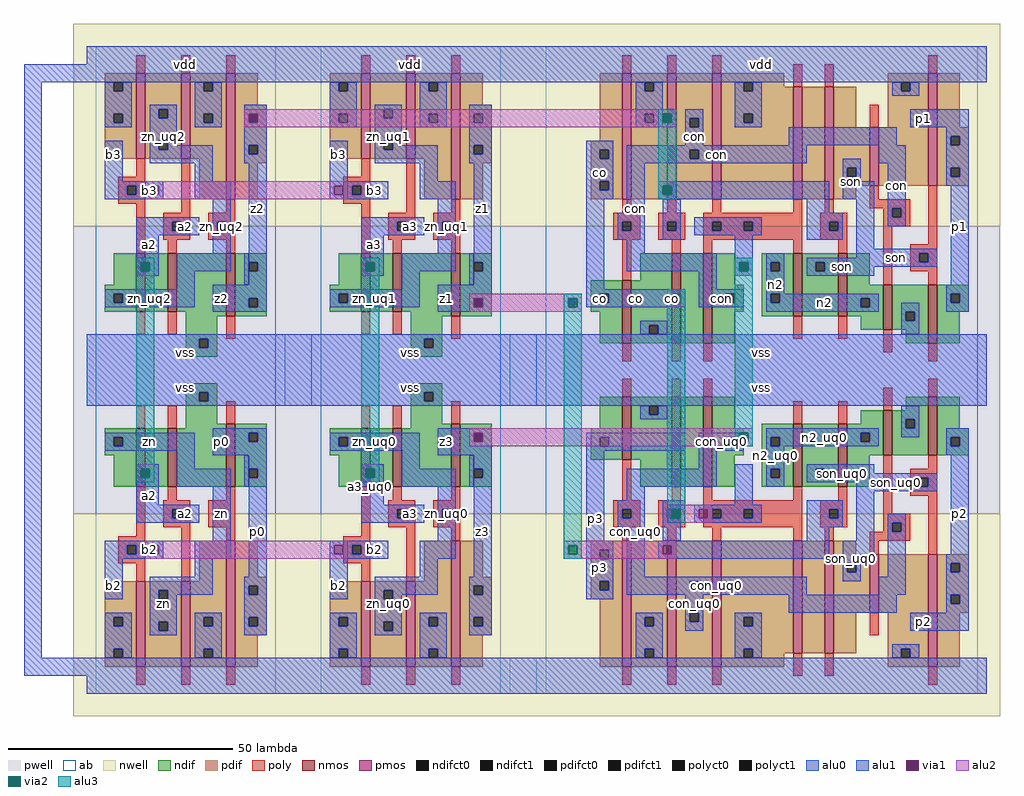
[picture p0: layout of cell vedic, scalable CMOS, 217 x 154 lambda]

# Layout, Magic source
magic
tech scmos
<< ab >>
rect 5 -68 45 76
rect 47 -4 53 12
rect 55 -68 95 76
rect 97 -4 103 12
rect 97 -68 103 -60
rect 105 -68 201 76
<< nwell >>
rect 0 36 206 81
rect 0 -73 206 -28
<< pwell >>
rect 0 -28 206 36
<< poly >>
rect 14 70 16 74
rect 24 70 26 74
rect 34 70 36 74
rect 64 70 66 74
rect 74 70 76 74
rect 84 70 86 74
rect 122 70 124 74
rect 132 70 134 74
rect 142 70 144 74
rect 14 47 16 51
rect 10 45 16 47
rect 10 43 12 45
rect 14 43 16 45
rect 10 41 16 43
rect 14 30 16 41
rect 24 39 26 51
rect 64 47 66 51
rect 60 45 66 47
rect 60 43 62 45
rect 64 43 66 45
rect 34 39 36 42
rect 60 41 66 43
rect 20 37 26 39
rect 20 35 22 37
rect 24 35 26 37
rect 20 33 26 35
rect 30 37 36 39
rect 30 35 32 37
rect 34 35 36 37
rect 30 33 36 35
rect 21 30 23 33
rect 34 30 36 33
rect 64 30 66 41
rect 74 39 76 51
rect 160 67 162 72
rect 167 67 169 72
rect 190 70 192 74
rect 177 58 179 63
rect 177 42 179 45
rect 84 39 86 42
rect 122 39 124 42
rect 132 39 134 42
rect 142 39 144 42
rect 160 39 162 42
rect 167 39 169 42
rect 177 40 186 42
rect 70 37 76 39
rect 70 35 72 37
rect 74 35 76 37
rect 70 33 76 35
rect 80 37 86 39
rect 80 35 82 37
rect 84 35 86 37
rect 80 33 86 35
rect 120 37 126 39
rect 120 35 122 37
rect 124 35 126 37
rect 120 33 126 35
rect 130 37 136 39
rect 130 35 132 37
rect 134 35 136 37
rect 130 33 136 35
rect 140 37 162 39
rect 140 35 142 37
rect 144 35 149 37
rect 151 35 162 37
rect 140 33 162 35
rect 166 37 172 39
rect 166 35 168 37
rect 170 35 172 37
rect 166 33 172 35
rect 71 30 73 33
rect 84 30 86 33
rect 14 12 16 17
rect 21 12 23 17
rect 34 11 36 16
rect 64 12 66 17
rect 71 12 73 17
rect 122 24 124 33
rect 133 30 135 33
rect 140 30 142 33
rect 160 30 162 33
rect 170 30 172 33
rect 180 38 182 40
rect 184 38 186 40
rect 180 36 186 38
rect 84 11 86 16
rect 180 23 182 36
rect 190 32 192 45
rect 186 30 192 32
rect 186 28 188 30
rect 190 28 192 30
rect 186 26 192 28
rect 190 23 192 26
rect 160 11 162 16
rect 170 11 172 16
rect 122 6 124 10
rect 133 6 135 10
rect 140 6 142 10
rect 180 8 182 13
rect 190 6 192 10
rect 122 -2 124 2
rect 133 -2 135 2
rect 140 -2 142 2
rect 14 -9 16 -4
rect 21 -9 23 -4
rect 34 -8 36 -3
rect 64 -9 66 -4
rect 71 -9 73 -4
rect 84 -8 86 -3
rect 14 -33 16 -22
rect 21 -25 23 -22
rect 34 -25 36 -22
rect 20 -27 26 -25
rect 20 -29 22 -27
rect 24 -29 26 -27
rect 20 -31 26 -29
rect 30 -27 36 -25
rect 30 -29 32 -27
rect 34 -29 36 -27
rect 30 -31 36 -29
rect 10 -35 16 -33
rect 10 -37 12 -35
rect 14 -37 16 -35
rect 10 -39 16 -37
rect 14 -43 16 -39
rect 24 -43 26 -31
rect 34 -34 36 -31
rect 64 -33 66 -22
rect 71 -25 73 -22
rect 84 -25 86 -22
rect 122 -25 124 -16
rect 160 -8 162 -3
rect 170 -8 172 -3
rect 180 -5 182 0
rect 190 -2 192 2
rect 133 -25 135 -22
rect 140 -25 142 -22
rect 160 -25 162 -22
rect 170 -25 172 -22
rect 70 -27 76 -25
rect 70 -29 72 -27
rect 74 -29 76 -27
rect 70 -31 76 -29
rect 80 -27 86 -25
rect 80 -29 82 -27
rect 84 -29 86 -27
rect 80 -31 86 -29
rect 120 -27 126 -25
rect 120 -29 122 -27
rect 124 -29 126 -27
rect 120 -31 126 -29
rect 130 -27 136 -25
rect 130 -29 132 -27
rect 134 -29 136 -27
rect 130 -31 136 -29
rect 140 -27 162 -25
rect 140 -29 142 -27
rect 144 -29 149 -27
rect 151 -29 162 -27
rect 140 -31 162 -29
rect 166 -27 172 -25
rect 166 -29 168 -27
rect 170 -29 172 -27
rect 166 -31 172 -29
rect 180 -28 182 -15
rect 190 -18 192 -15
rect 186 -20 192 -18
rect 186 -22 188 -20
rect 190 -22 192 -20
rect 186 -24 192 -22
rect 180 -30 186 -28
rect 60 -35 66 -33
rect 60 -37 62 -35
rect 64 -37 66 -35
rect 60 -39 66 -37
rect 64 -43 66 -39
rect 74 -43 76 -31
rect 84 -34 86 -31
rect 122 -34 124 -31
rect 132 -34 134 -31
rect 142 -34 144 -31
rect 160 -34 162 -31
rect 167 -34 169 -31
rect 180 -32 182 -30
rect 184 -32 186 -30
rect 177 -34 186 -32
rect 177 -37 179 -34
rect 190 -37 192 -24
rect 177 -55 179 -50
rect 14 -66 16 -62
rect 24 -66 26 -62
rect 34 -66 36 -62
rect 64 -66 66 -62
rect 74 -66 76 -62
rect 84 -66 86 -62
rect 122 -66 124 -62
rect 132 -66 134 -62
rect 142 -66 144 -62
rect 160 -64 162 -59
rect 167 -64 169 -59
rect 190 -66 192 -62
<< ndif >>
rect 9 23 14 30
rect 7 21 14 23
rect 7 19 9 21
rect 11 19 14 21
rect 7 17 14 19
rect 16 17 21 30
rect 23 17 34 30
rect 25 16 34 17
rect 36 28 43 30
rect 36 26 39 28
rect 41 26 43 28
rect 36 20 43 26
rect 59 23 64 30
rect 36 18 39 20
rect 41 18 43 20
rect 36 16 43 18
rect 57 21 64 23
rect 57 19 59 21
rect 61 19 64 21
rect 57 17 64 19
rect 66 17 71 30
rect 73 17 84 30
rect 25 11 32 16
rect 75 16 84 17
rect 86 28 93 30
rect 86 26 89 28
rect 91 26 93 28
rect 86 20 93 26
rect 126 24 133 30
rect 86 18 89 20
rect 91 18 93 20
rect 86 16 93 18
rect 115 21 122 24
rect 115 19 117 21
rect 119 19 122 21
rect 115 17 122 19
rect 75 11 82 16
rect 25 9 28 11
rect 30 9 32 11
rect 25 7 32 9
rect 75 9 78 11
rect 80 9 82 11
rect 117 10 122 17
rect 124 14 133 24
rect 124 12 128 14
rect 130 12 133 14
rect 124 10 133 12
rect 135 10 140 30
rect 142 23 147 30
rect 153 28 160 30
rect 153 26 155 28
rect 157 26 160 28
rect 142 21 149 23
rect 142 19 145 21
rect 147 19 149 21
rect 142 17 149 19
rect 153 21 160 26
rect 153 19 155 21
rect 157 19 160 21
rect 142 10 147 17
rect 153 16 160 19
rect 162 28 170 30
rect 162 26 165 28
rect 167 26 170 28
rect 162 16 170 26
rect 172 23 177 30
rect 172 20 180 23
rect 172 18 175 20
rect 177 18 180 20
rect 172 16 180 18
rect 175 13 180 16
rect 182 17 190 23
rect 182 15 185 17
rect 187 15 190 17
rect 182 13 190 15
rect 75 7 82 9
rect 185 10 190 13
rect 192 21 199 23
rect 192 19 195 21
rect 197 19 199 21
rect 192 17 199 19
rect 192 10 197 17
rect 25 -1 32 1
rect 25 -3 28 -1
rect 30 -3 32 -1
rect 75 -1 82 1
rect 75 -3 78 -1
rect 80 -3 82 -1
rect 25 -8 32 -3
rect 25 -9 34 -8
rect 7 -11 14 -9
rect 7 -13 9 -11
rect 11 -13 14 -11
rect 7 -15 14 -13
rect 9 -22 14 -15
rect 16 -22 21 -9
rect 23 -22 34 -9
rect 36 -10 43 -8
rect 75 -8 82 -3
rect 75 -9 84 -8
rect 36 -12 39 -10
rect 41 -12 43 -10
rect 36 -18 43 -12
rect 57 -11 64 -9
rect 57 -13 59 -11
rect 61 -13 64 -11
rect 57 -15 64 -13
rect 36 -20 39 -18
rect 41 -20 43 -18
rect 36 -22 43 -20
rect 59 -22 64 -15
rect 66 -22 71 -9
rect 73 -22 84 -9
rect 86 -10 93 -8
rect 117 -9 122 -2
rect 86 -12 89 -10
rect 91 -12 93 -10
rect 86 -18 93 -12
rect 115 -11 122 -9
rect 115 -13 117 -11
rect 119 -13 122 -11
rect 115 -16 122 -13
rect 124 -4 133 -2
rect 124 -6 128 -4
rect 130 -6 133 -4
rect 124 -16 133 -6
rect 86 -20 89 -18
rect 91 -20 93 -18
rect 86 -22 93 -20
rect 126 -22 133 -16
rect 135 -22 140 -2
rect 142 -9 147 -2
rect 185 -5 190 -2
rect 175 -8 180 -5
rect 142 -11 149 -9
rect 142 -13 145 -11
rect 147 -13 149 -11
rect 142 -15 149 -13
rect 153 -11 160 -8
rect 153 -13 155 -11
rect 157 -13 160 -11
rect 142 -22 147 -15
rect 153 -18 160 -13
rect 153 -20 155 -18
rect 157 -20 160 -18
rect 153 -22 160 -20
rect 162 -18 170 -8
rect 162 -20 165 -18
rect 167 -20 170 -18
rect 162 -22 170 -20
rect 172 -10 180 -8
rect 172 -12 175 -10
rect 177 -12 180 -10
rect 172 -15 180 -12
rect 182 -7 190 -5
rect 182 -9 185 -7
rect 187 -9 190 -7
rect 182 -15 190 -9
rect 192 -9 197 -2
rect 192 -11 199 -9
rect 192 -13 195 -11
rect 197 -13 199 -11
rect 192 -15 199 -13
rect 172 -22 177 -15
<< pdif >>
rect 7 68 14 70
rect 7 66 9 68
rect 11 66 14 68
rect 7 61 14 66
rect 7 59 9 61
rect 11 59 14 61
rect 7 51 14 59
rect 16 62 24 70
rect 16 60 19 62
rect 21 60 24 62
rect 16 55 24 60
rect 16 53 19 55
rect 21 53 24 55
rect 16 51 24 53
rect 26 68 34 70
rect 26 66 29 68
rect 31 66 34 68
rect 26 61 34 66
rect 26 59 29 61
rect 31 59 34 61
rect 26 51 34 59
rect 28 42 34 51
rect 36 63 41 70
rect 57 68 64 70
rect 57 66 59 68
rect 61 66 64 68
rect 36 61 43 63
rect 36 59 39 61
rect 41 59 43 61
rect 36 54 43 59
rect 36 52 39 54
rect 41 52 43 54
rect 36 50 43 52
rect 57 61 64 66
rect 57 59 59 61
rect 61 59 64 61
rect 57 51 64 59
rect 66 62 74 70
rect 66 60 69 62
rect 71 60 74 62
rect 66 55 74 60
rect 66 53 69 55
rect 71 53 74 55
rect 66 51 74 53
rect 76 68 84 70
rect 76 66 79 68
rect 81 66 84 68
rect 76 61 84 66
rect 76 59 79 61
rect 81 59 84 61
rect 76 51 84 59
rect 36 42 41 50
rect 78 42 84 51
rect 86 63 91 70
rect 86 61 93 63
rect 86 59 89 61
rect 91 59 93 61
rect 86 54 93 59
rect 117 55 122 70
rect 86 52 89 54
rect 91 52 93 54
rect 86 50 93 52
rect 115 53 122 55
rect 115 51 117 53
rect 119 51 122 53
rect 86 42 91 50
rect 115 46 122 51
rect 115 44 117 46
rect 119 44 122 46
rect 115 42 122 44
rect 124 68 132 70
rect 124 66 127 68
rect 129 66 132 68
rect 124 61 132 66
rect 124 59 127 61
rect 129 59 132 61
rect 124 42 132 59
rect 134 60 142 70
rect 134 58 137 60
rect 139 58 142 60
rect 134 53 142 58
rect 134 51 137 53
rect 139 51 142 53
rect 134 42 142 51
rect 144 68 158 70
rect 144 66 149 68
rect 151 67 158 68
rect 181 68 190 70
rect 151 66 160 67
rect 144 61 160 66
rect 144 59 149 61
rect 151 59 160 61
rect 144 42 160 59
rect 162 42 167 67
rect 169 58 174 67
rect 181 66 184 68
rect 186 66 190 68
rect 181 58 190 66
rect 169 49 177 58
rect 169 47 172 49
rect 174 47 177 49
rect 169 45 177 47
rect 179 45 190 58
rect 192 58 197 70
rect 192 56 199 58
rect 192 54 195 56
rect 197 54 199 56
rect 192 49 199 54
rect 192 47 195 49
rect 197 47 199 49
rect 192 45 199 47
rect 169 42 174 45
rect 28 -43 34 -34
rect 7 -51 14 -43
rect 7 -53 9 -51
rect 11 -53 14 -51
rect 7 -58 14 -53
rect 7 -60 9 -58
rect 11 -60 14 -58
rect 7 -62 14 -60
rect 16 -45 24 -43
rect 16 -47 19 -45
rect 21 -47 24 -45
rect 16 -52 24 -47
rect 16 -54 19 -52
rect 21 -54 24 -52
rect 16 -62 24 -54
rect 26 -51 34 -43
rect 26 -53 29 -51
rect 31 -53 34 -51
rect 26 -58 34 -53
rect 26 -60 29 -58
rect 31 -60 34 -58
rect 26 -62 34 -60
rect 36 -42 41 -34
rect 36 -44 43 -42
rect 78 -43 84 -34
rect 36 -46 39 -44
rect 41 -46 43 -44
rect 36 -51 43 -46
rect 36 -53 39 -51
rect 41 -53 43 -51
rect 36 -55 43 -53
rect 57 -51 64 -43
rect 57 -53 59 -51
rect 61 -53 64 -51
rect 36 -62 41 -55
rect 57 -58 64 -53
rect 57 -60 59 -58
rect 61 -60 64 -58
rect 57 -62 64 -60
rect 66 -45 74 -43
rect 66 -47 69 -45
rect 71 -47 74 -45
rect 66 -52 74 -47
rect 66 -54 69 -52
rect 71 -54 74 -52
rect 66 -62 74 -54
rect 76 -51 84 -43
rect 76 -53 79 -51
rect 81 -53 84 -51
rect 76 -58 84 -53
rect 76 -60 79 -58
rect 81 -60 84 -58
rect 76 -62 84 -60
rect 86 -42 91 -34
rect 115 -36 122 -34
rect 115 -38 117 -36
rect 119 -38 122 -36
rect 86 -44 93 -42
rect 86 -46 89 -44
rect 91 -46 93 -44
rect 86 -51 93 -46
rect 115 -43 122 -38
rect 115 -45 117 -43
rect 119 -45 122 -43
rect 115 -47 122 -45
rect 86 -53 89 -51
rect 91 -53 93 -51
rect 86 -55 93 -53
rect 86 -62 91 -55
rect 117 -62 122 -47
rect 124 -51 132 -34
rect 124 -53 127 -51
rect 129 -53 132 -51
rect 124 -58 132 -53
rect 124 -60 127 -58
rect 129 -60 132 -58
rect 124 -62 132 -60
rect 134 -43 142 -34
rect 134 -45 137 -43
rect 139 -45 142 -43
rect 134 -50 142 -45
rect 134 -52 137 -50
rect 139 -52 142 -50
rect 134 -62 142 -52
rect 144 -51 160 -34
rect 144 -53 149 -51
rect 151 -53 160 -51
rect 144 -58 160 -53
rect 144 -60 149 -58
rect 151 -59 160 -58
rect 162 -59 167 -34
rect 169 -37 174 -34
rect 169 -39 177 -37
rect 169 -41 172 -39
rect 174 -41 177 -39
rect 169 -50 177 -41
rect 179 -50 190 -37
rect 169 -59 174 -50
rect 181 -58 190 -50
rect 151 -60 158 -59
rect 144 -62 158 -60
rect 181 -60 184 -58
rect 186 -60 190 -58
rect 181 -62 190 -60
rect 192 -39 199 -37
rect 192 -41 195 -39
rect 197 -41 199 -39
rect 192 -46 199 -41
rect 192 -48 195 -46
rect 197 -48 199 -46
rect 192 -50 199 -48
rect 192 -62 197 -50
<< alu1 >>
rect 3 72 203 76
rect -11 68 203 72
rect -11 -60 -7 68
rect 38 61 43 63
rect 38 59 39 61
rect 41 59 43 61
rect 7 46 11 55
rect 38 54 43 59
rect 88 61 93 63
rect 88 59 89 61
rect 91 59 93 61
rect 38 52 39 54
rect 41 52 43 54
rect 38 50 43 52
rect 7 45 20 46
rect 7 43 12 45
rect 14 43 17 45
rect 19 43 20 45
rect 7 42 20 43
rect 14 37 28 38
rect 14 35 22 37
rect 24 35 28 37
rect 14 34 28 35
rect 14 28 19 34
rect 14 26 15 28
rect 17 26 19 28
rect 14 25 19 26
rect 39 28 43 50
rect 57 46 61 55
rect 88 54 93 59
rect 186 58 199 62
rect 88 52 89 54
rect 91 52 93 54
rect 88 50 93 52
rect 57 45 70 46
rect 57 43 58 45
rect 60 43 62 45
rect 64 43 70 45
rect 57 42 70 43
rect 41 26 43 28
rect 39 23 43 26
rect 64 37 78 38
rect 64 35 72 37
rect 74 35 78 37
rect 64 34 78 35
rect 64 28 69 34
rect 64 26 65 28
rect 67 26 69 28
rect 64 25 69 26
rect 31 20 43 23
rect 89 28 93 50
rect 91 26 93 28
rect 89 23 93 26
rect 31 18 39 20
rect 41 18 43 20
rect 81 20 93 23
rect 81 18 89 20
rect 91 18 93 20
rect 114 53 120 55
rect 194 56 199 58
rect 194 54 195 56
rect 197 54 199 56
rect 114 51 117 53
rect 119 51 120 53
rect 114 46 120 51
rect 114 44 117 46
rect 119 44 120 46
rect 114 42 120 44
rect 114 22 118 42
rect 130 45 168 46
rect 130 43 131 45
rect 133 43 168 45
rect 130 42 168 43
rect 163 39 168 42
rect 138 37 153 38
rect 138 35 142 37
rect 144 35 149 37
rect 151 35 153 37
rect 138 34 153 35
rect 163 37 171 39
rect 163 35 168 37
rect 170 35 171 37
rect 147 28 151 34
rect 163 33 171 35
rect 194 49 199 54
rect 194 47 195 49
rect 197 47 199 49
rect 194 45 199 47
rect 147 26 148 28
rect 150 26 151 28
rect 147 25 151 26
rect 114 21 136 22
rect 114 19 117 21
rect 119 19 133 21
rect 135 19 136 21
rect 114 18 136 19
rect 195 23 199 45
rect 194 21 199 23
rect 194 19 195 21
rect 197 19 199 21
rect 31 17 43 18
rect 81 17 93 18
rect 194 17 199 19
rect 3 11 203 12
rect 3 9 28 11
rect 30 9 78 11
rect 80 9 203 11
rect 3 -1 203 9
rect 3 -3 28 -1
rect 30 -3 78 -1
rect 80 -3 203 -1
rect 3 -4 203 -3
rect 31 -10 43 -9
rect 81 -10 93 -9
rect 14 -18 19 -17
rect 14 -20 15 -18
rect 17 -20 19 -18
rect 14 -26 19 -20
rect 31 -12 39 -10
rect 41 -12 43 -10
rect 31 -15 43 -12
rect 39 -18 43 -15
rect 41 -20 43 -18
rect 14 -27 28 -26
rect 14 -29 22 -27
rect 24 -29 28 -27
rect 14 -30 28 -29
rect 7 -35 20 -34
rect 7 -37 12 -35
rect 14 -37 17 -35
rect 19 -37 20 -35
rect 7 -38 20 -37
rect 7 -47 11 -38
rect 39 -42 43 -20
rect 64 -18 69 -17
rect 64 -20 65 -18
rect 67 -20 69 -18
rect 64 -26 69 -20
rect 81 -12 89 -10
rect 91 -12 93 -10
rect 81 -15 93 -12
rect 89 -18 93 -15
rect 91 -20 93 -18
rect 64 -27 78 -26
rect 64 -29 72 -27
rect 74 -29 78 -27
rect 64 -30 78 -29
rect 38 -44 43 -42
rect 38 -46 39 -44
rect 41 -46 43 -44
rect 38 -51 43 -46
rect 57 -35 70 -34
rect 57 -37 58 -35
rect 60 -37 62 -35
rect 64 -37 70 -35
rect 57 -38 70 -37
rect 57 -47 61 -38
rect 89 -42 93 -20
rect 88 -44 93 -42
rect 88 -46 89 -44
rect 91 -46 93 -44
rect 38 -53 39 -51
rect 41 -53 43 -51
rect 38 -55 43 -53
rect 88 -51 93 -46
rect 114 -11 136 -10
rect 114 -13 117 -11
rect 119 -13 136 -11
rect 114 -14 136 -13
rect 194 -11 199 -9
rect 194 -13 195 -11
rect 197 -13 199 -11
rect 114 -34 118 -14
rect 114 -36 120 -34
rect 114 -38 117 -36
rect 119 -38 120 -36
rect 114 -43 120 -38
rect 114 -45 117 -43
rect 119 -45 120 -43
rect 114 -47 120 -45
rect 147 -26 151 -17
rect 194 -15 199 -13
rect 138 -27 153 -26
rect 138 -29 139 -27
rect 141 -29 142 -27
rect 144 -29 149 -27
rect 151 -29 153 -27
rect 138 -30 153 -29
rect 163 -27 171 -25
rect 163 -29 168 -27
rect 170 -29 171 -27
rect 163 -31 171 -29
rect 163 -34 168 -31
rect 130 -35 168 -34
rect 130 -37 131 -35
rect 133 -37 168 -35
rect 130 -38 168 -37
rect 195 -37 199 -15
rect 194 -39 199 -37
rect 194 -41 195 -39
rect 197 -41 199 -39
rect 194 -46 199 -41
rect 194 -48 195 -46
rect 197 -48 199 -46
rect 194 -50 199 -48
rect 88 -53 89 -51
rect 91 -53 93 -51
rect 88 -55 93 -53
rect 186 -54 199 -50
rect -11 -64 203 -60
rect 3 -68 203 -64
<< alu2 >>
rect 38 61 134 62
rect 38 59 39 61
rect 41 59 131 61
rect 133 59 134 61
rect 38 58 134 59
rect 16 45 61 46
rect 16 43 17 45
rect 19 43 58 45
rect 60 43 61 45
rect 16 42 61 43
rect 130 45 134 46
rect 130 43 131 45
rect 133 43 134 45
rect 130 42 134 43
rect 14 28 18 29
rect 14 26 15 28
rect 17 26 18 28
rect 14 25 18 26
rect 64 28 68 29
rect 64 26 65 28
rect 67 26 68 28
rect 64 25 68 26
rect 147 28 151 29
rect 147 26 148 28
rect 150 26 151 28
rect 147 25 151 26
rect 132 21 136 22
rect 88 20 113 21
rect 88 18 89 20
rect 91 18 110 20
rect 112 18 113 20
rect 132 19 133 21
rect 135 19 136 21
rect 132 18 136 19
rect 88 17 113 18
rect 88 -10 151 -9
rect 88 -12 89 -10
rect 91 -12 148 -10
rect 150 -12 151 -10
rect 88 -13 151 -12
rect 14 -18 18 -17
rect 14 -20 15 -18
rect 17 -20 18 -18
rect 14 -21 18 -20
rect 64 -18 68 -17
rect 64 -20 65 -18
rect 67 -20 68 -18
rect 64 -21 68 -20
rect 132 -27 142 -26
rect 132 -29 133 -27
rect 135 -29 139 -27
rect 141 -29 142 -27
rect 132 -30 142 -29
rect 16 -35 61 -34
rect 16 -37 17 -35
rect 19 -37 58 -35
rect 60 -37 61 -35
rect 16 -38 61 -37
rect 109 -35 134 -34
rect 109 -37 110 -35
rect 112 -37 131 -35
rect 133 -37 134 -35
rect 109 -38 134 -37
<< alu3 >>
rect 130 61 134 62
rect 130 59 131 61
rect 133 59 134 61
rect 130 45 134 59
rect 130 43 131 45
rect 133 43 134 45
rect 130 42 134 43
rect 14 28 18 29
rect 14 26 15 28
rect 17 26 18 28
rect 14 -18 18 26
rect 14 -20 15 -18
rect 17 -20 18 -18
rect 14 -21 18 -20
rect 64 28 68 29
rect 64 26 65 28
rect 67 26 68 28
rect 64 -18 68 26
rect 147 28 151 29
rect 147 26 148 28
rect 150 26 151 28
rect 132 21 136 22
rect 64 -20 65 -18
rect 67 -20 68 -18
rect 64 -21 68 -20
rect 109 20 113 21
rect 109 18 110 20
rect 112 18 113 20
rect 109 -35 113 18
rect 132 19 133 21
rect 135 19 136 21
rect 132 -27 136 19
rect 147 -10 151 26
rect 147 -12 148 -10
rect 150 -12 151 -10
rect 147 -13 151 -12
rect 132 -29 133 -27
rect 135 -29 136 -27
rect 132 -30 136 -29
rect 109 -37 110 -35
rect 112 -37 113 -35
rect 109 -38 113 -37
<< nmos >>
rect 14 17 16 30
rect 21 17 23 30
rect 34 16 36 30
rect 64 17 66 30
rect 71 17 73 30
rect 84 16 86 30
rect 122 10 124 24
rect 133 10 135 30
rect 140 10 142 30
rect 160 16 162 30
rect 170 16 172 30
rect 180 13 182 23
rect 190 10 192 23
rect 14 -22 16 -9
rect 21 -22 23 -9
rect 34 -22 36 -8
rect 64 -22 66 -9
rect 71 -22 73 -9
rect 84 -22 86 -8
rect 122 -16 124 -2
rect 133 -22 135 -2
rect 140 -22 142 -2
rect 160 -22 162 -8
rect 170 -22 172 -8
rect 180 -15 182 -5
rect 190 -15 192 -2
<< pmos >>
rect 14 51 16 70
rect 24 51 26 70
rect 34 42 36 70
rect 64 51 66 70
rect 74 51 76 70
rect 84 42 86 70
rect 122 42 124 70
rect 132 42 134 70
rect 142 42 144 70
rect 160 42 162 67
rect 167 42 169 67
rect 177 45 179 58
rect 190 45 192 70
rect 14 -62 16 -43
rect 24 -62 26 -43
rect 34 -62 36 -34
rect 64 -62 66 -43
rect 74 -62 76 -43
rect 84 -62 86 -34
rect 122 -62 124 -34
rect 132 -62 134 -34
rect 142 -62 144 -34
rect 160 -59 162 -34
rect 167 -59 169 -34
rect 177 -50 179 -37
rect 190 -62 192 -37
<< polyct0 >>
rect 32 35 34 37
rect 82 35 84 37
rect 122 35 124 37
rect 132 35 134 37
rect 182 38 184 40
rect 188 28 190 30
rect 32 -29 34 -27
rect 82 -29 84 -27
rect 122 -29 124 -27
rect 132 -29 134 -27
rect 188 -22 190 -20
rect 182 -32 184 -30
<< polyct1 >>
rect 12 43 14 45
rect 62 43 64 45
rect 22 35 24 37
rect 72 35 74 37
rect 142 35 144 37
rect 149 35 151 37
rect 168 35 170 37
rect 22 -29 24 -27
rect 12 -37 14 -35
rect 72 -29 74 -27
rect 142 -29 144 -27
rect 149 -29 151 -27
rect 168 -29 170 -27
rect 62 -37 64 -35
<< ndifct0 >>
rect 9 19 11 21
rect 59 19 61 21
rect 128 12 130 14
rect 155 26 157 28
rect 145 19 147 21
rect 155 19 157 21
rect 165 26 167 28
rect 175 18 177 20
rect 185 15 187 17
rect 9 -13 11 -11
rect 59 -13 61 -11
rect 128 -6 130 -4
rect 145 -13 147 -11
rect 155 -13 157 -11
rect 155 -20 157 -18
rect 165 -20 167 -18
rect 175 -12 177 -10
rect 185 -9 187 -7
<< ndifct1 >>
rect 39 26 41 28
rect 39 18 41 20
rect 89 26 91 28
rect 89 18 91 20
rect 117 19 119 21
rect 28 9 30 11
rect 78 9 80 11
rect 195 19 197 21
rect 28 -3 30 -1
rect 78 -3 80 -1
rect 39 -12 41 -10
rect 39 -20 41 -18
rect 89 -12 91 -10
rect 117 -13 119 -11
rect 89 -20 91 -18
rect 195 -13 197 -11
<< pdifct0 >>
rect 9 66 11 68
rect 9 59 11 61
rect 19 60 21 62
rect 19 53 21 55
rect 29 66 31 68
rect 29 59 31 61
rect 59 66 61 68
rect 59 59 61 61
rect 69 60 71 62
rect 69 53 71 55
rect 79 66 81 68
rect 79 59 81 61
rect 127 66 129 68
rect 127 59 129 61
rect 137 58 139 60
rect 137 51 139 53
rect 149 66 151 68
rect 149 59 151 61
rect 184 66 186 68
rect 172 47 174 49
rect 9 -53 11 -51
rect 9 -60 11 -58
rect 19 -47 21 -45
rect 19 -54 21 -52
rect 29 -53 31 -51
rect 29 -60 31 -58
rect 59 -53 61 -51
rect 59 -60 61 -58
rect 69 -47 71 -45
rect 69 -54 71 -52
rect 79 -53 81 -51
rect 79 -60 81 -58
rect 127 -53 129 -51
rect 127 -60 129 -58
rect 137 -45 139 -43
rect 137 -52 139 -50
rect 149 -53 151 -51
rect 149 -60 151 -58
rect 172 -41 174 -39
rect 184 -60 186 -58
<< pdifct1 >>
rect 39 59 41 61
rect 39 52 41 54
rect 89 59 91 61
rect 89 52 91 54
rect 117 51 119 53
rect 117 44 119 46
rect 195 54 197 56
rect 195 47 197 49
rect 39 -46 41 -44
rect 39 -53 41 -51
rect 117 -38 119 -36
rect 89 -46 91 -44
rect 117 -45 119 -43
rect 89 -53 91 -51
rect 195 -41 197 -39
rect 195 -48 197 -46
<< alu0 >>
rect 7 66 9 68
rect 11 66 13 68
rect 7 61 13 66
rect 27 66 29 68
rect 31 66 33 68
rect 7 59 9 61
rect 11 59 13 61
rect 7 58 13 59
rect 17 62 23 63
rect 17 60 19 62
rect 21 60 23 62
rect 17 55 23 60
rect 27 61 33 66
rect 57 66 59 68
rect 61 66 63 68
rect 27 59 29 61
rect 31 59 33 61
rect 27 58 33 59
rect 17 53 19 55
rect 21 54 23 55
rect 57 61 63 66
rect 77 66 79 68
rect 81 66 83 68
rect 57 59 59 61
rect 61 59 63 61
rect 57 58 63 59
rect 67 62 73 63
rect 67 60 69 62
rect 71 60 73 62
rect 67 55 73 60
rect 77 61 83 66
rect 125 66 127 68
rect 129 66 131 68
rect 77 59 79 61
rect 81 59 83 61
rect 77 58 83 59
rect 21 53 31 54
rect 17 50 31 53
rect 27 46 31 50
rect 27 42 35 46
rect 31 37 35 42
rect 31 35 32 37
rect 34 35 35 37
rect 31 30 35 35
rect 23 26 35 30
rect 23 22 27 26
rect 38 23 39 30
rect 67 53 69 55
rect 71 54 73 55
rect 125 61 131 66
rect 147 66 149 68
rect 151 66 153 68
rect 125 59 127 61
rect 129 59 131 61
rect 125 58 131 59
rect 136 60 140 62
rect 136 58 137 60
rect 139 58 140 60
rect 147 61 153 66
rect 182 66 184 68
rect 186 66 188 68
rect 182 65 188 66
rect 147 59 149 61
rect 151 59 153 61
rect 147 58 153 59
rect 71 53 81 54
rect 67 50 81 53
rect 77 46 81 50
rect 77 42 85 46
rect 81 37 85 42
rect 81 35 82 37
rect 84 35 85 37
rect 81 30 85 35
rect 73 26 85 30
rect 7 21 27 22
rect 7 19 9 21
rect 11 19 27 21
rect 7 18 27 19
rect 73 22 77 26
rect 88 23 89 30
rect 57 21 77 22
rect 57 19 59 21
rect 61 19 77 21
rect 57 18 77 19
rect 136 54 140 58
rect 159 54 183 58
rect 123 53 163 54
rect 123 51 137 53
rect 139 51 163 53
rect 123 50 163 51
rect 123 39 127 50
rect 171 49 175 51
rect 179 50 185 54
rect 171 47 172 49
rect 174 47 175 49
rect 171 46 175 47
rect 171 42 178 46
rect 121 37 127 39
rect 121 35 122 37
rect 124 35 127 37
rect 121 33 127 35
rect 131 37 135 42
rect 131 35 132 37
rect 134 35 135 37
rect 131 33 135 35
rect 123 30 127 33
rect 123 26 143 30
rect 139 22 143 26
rect 174 31 178 42
rect 181 40 185 50
rect 181 38 182 40
rect 184 38 185 40
rect 181 36 185 38
rect 174 30 192 31
rect 154 28 158 30
rect 174 29 188 30
rect 154 26 155 28
rect 157 26 158 28
rect 139 21 149 22
rect 139 19 145 21
rect 147 19 149 21
rect 139 18 149 19
rect 154 21 158 26
rect 163 28 188 29
rect 190 28 192 30
rect 163 26 165 28
rect 167 27 192 28
rect 167 26 178 27
rect 163 25 178 26
rect 154 19 155 21
rect 157 20 179 21
rect 157 19 175 20
rect 154 18 175 19
rect 177 18 179 20
rect 154 17 179 18
rect 184 17 188 19
rect 184 15 185 17
rect 187 15 188 17
rect 126 14 132 15
rect 126 12 128 14
rect 130 12 132 14
rect 184 12 188 15
rect 126 -6 128 -4
rect 130 -6 132 -4
rect 126 -7 132 -6
rect 184 -7 188 -4
rect 184 -9 185 -7
rect 187 -9 188 -7
rect 154 -10 179 -9
rect 7 -11 27 -10
rect 7 -13 9 -11
rect 11 -13 27 -11
rect 7 -14 27 -13
rect 23 -18 27 -14
rect 57 -11 77 -10
rect 57 -13 59 -11
rect 61 -13 77 -11
rect 57 -14 77 -13
rect 23 -22 35 -18
rect 38 -22 39 -15
rect 31 -27 35 -22
rect 31 -29 32 -27
rect 34 -29 35 -27
rect 31 -34 35 -29
rect 27 -38 35 -34
rect 27 -42 31 -38
rect 73 -18 77 -14
rect 73 -22 85 -18
rect 88 -22 89 -15
rect 81 -27 85 -22
rect 81 -29 82 -27
rect 84 -29 85 -27
rect 81 -34 85 -29
rect 17 -45 31 -42
rect 17 -47 19 -45
rect 21 -46 31 -45
rect 21 -47 23 -46
rect 7 -51 13 -50
rect 7 -53 9 -51
rect 11 -53 13 -51
rect 7 -58 13 -53
rect 17 -52 23 -47
rect 17 -54 19 -52
rect 21 -54 23 -52
rect 17 -55 23 -54
rect 27 -51 33 -50
rect 27 -53 29 -51
rect 31 -53 33 -51
rect 7 -60 9 -58
rect 11 -60 13 -58
rect 27 -58 33 -53
rect 77 -38 85 -34
rect 77 -42 81 -38
rect 67 -45 81 -42
rect 67 -47 69 -45
rect 71 -46 81 -45
rect 71 -47 73 -46
rect 57 -51 63 -50
rect 57 -53 59 -51
rect 61 -53 63 -51
rect 27 -60 29 -58
rect 31 -60 33 -58
rect 57 -58 63 -53
rect 67 -52 73 -47
rect 67 -54 69 -52
rect 71 -54 73 -52
rect 67 -55 73 -54
rect 77 -51 83 -50
rect 77 -53 79 -51
rect 81 -53 83 -51
rect 57 -60 59 -58
rect 61 -60 63 -58
rect 77 -58 83 -53
rect 139 -11 149 -10
rect 139 -13 145 -11
rect 147 -13 149 -11
rect 139 -14 149 -13
rect 154 -11 175 -10
rect 154 -13 155 -11
rect 157 -12 175 -11
rect 177 -12 179 -10
rect 184 -11 188 -9
rect 157 -13 179 -12
rect 139 -18 143 -14
rect 123 -22 143 -18
rect 123 -25 127 -22
rect 121 -27 127 -25
rect 121 -29 122 -27
rect 124 -29 127 -27
rect 121 -31 127 -29
rect 123 -42 127 -31
rect 131 -27 135 -25
rect 154 -18 158 -13
rect 154 -20 155 -18
rect 157 -20 158 -18
rect 154 -22 158 -20
rect 163 -18 178 -17
rect 163 -20 165 -18
rect 167 -19 178 -18
rect 167 -20 192 -19
rect 163 -21 188 -20
rect 174 -22 188 -21
rect 190 -22 192 -20
rect 174 -23 192 -22
rect 131 -29 132 -27
rect 134 -29 135 -27
rect 131 -34 135 -29
rect 174 -34 178 -23
rect 171 -38 178 -34
rect 181 -30 185 -28
rect 181 -32 182 -30
rect 184 -32 185 -30
rect 171 -39 175 -38
rect 171 -41 172 -39
rect 174 -41 175 -39
rect 123 -43 163 -42
rect 171 -43 175 -41
rect 181 -42 185 -32
rect 123 -45 137 -43
rect 139 -45 163 -43
rect 123 -46 163 -45
rect 179 -46 185 -42
rect 136 -50 140 -46
rect 159 -50 183 -46
rect 125 -51 131 -50
rect 125 -53 127 -51
rect 129 -53 131 -51
rect 77 -60 79 -58
rect 81 -60 83 -58
rect 125 -58 131 -53
rect 136 -52 137 -50
rect 139 -52 140 -50
rect 136 -54 140 -52
rect 147 -51 153 -50
rect 147 -53 149 -51
rect 151 -53 153 -51
rect 125 -60 127 -58
rect 129 -60 131 -58
rect 147 -58 153 -53
rect 147 -60 149 -58
rect 151 -60 153 -58
rect 182 -58 188 -57
rect 182 -60 184 -58
rect 186 -60 188 -58
<< via1 >>
rect 39 59 41 61
rect 17 43 19 45
rect 15 26 17 28
rect 58 43 60 45
rect 65 26 67 28
rect 89 18 91 20
rect 131 43 133 45
rect 148 26 150 28
rect 133 19 135 21
rect 15 -20 17 -18
rect 17 -37 19 -35
rect 65 -20 67 -18
rect 89 -12 91 -10
rect 58 -37 60 -35
rect 139 -29 141 -27
rect 131 -37 133 -35
<< via2 >>
rect 131 59 133 61
rect 131 43 133 45
rect 15 26 17 28
rect 65 26 67 28
rect 148 26 150 28
rect 110 18 112 20
rect 133 19 135 21
rect 148 -12 150 -10
rect 15 -20 17 -18
rect 65 -20 67 -18
rect 133 -29 135 -27
rect 110 -37 112 -35
<< labels >>
rlabel alu1 25 8 25 8 4 vss
rlabel alu1 25 72 25 72 4 vdd
rlabel alu1 25 0 25 0 2 vss
rlabel alu0 20 -48 20 -48 2 zn
rlabel alu0 17 -12 17 -12 2 zn
rlabel polyct0 33 -28 33 -28 2 zn
rlabel alu1 75 8 75 8 4 vss
rlabel alu1 75 72 75 72 4 vdd
rlabel alu1 75 0 75 0 2 vss
rlabel alu1 153 0 153 0 2 vss
rlabel alu0 183 45 183 45 4 con
rlabel alu0 171 27 171 27 4 son
rlabel alu0 183 29 183 29 4 son
rlabel alu0 173 46 173 46 4 son
rlabel alu0 167 19 167 19 4 n2
rlabel alu0 144 20 144 20 4 con
rlabel alu0 156 23 156 23 4 n2
rlabel alu0 125 40 125 40 4 con
rlabel alu0 143 52 143 52 4 con
rlabel alu0 138 56 138 56 4 con
rlabel alu1 153 8 153 8 4 vss
rlabel alu1 133 20 133 20 4 co
rlabel alu1 153 72 153 72 4 vdd
rlabel alu1 117 20 117 20 4 co
rlabel alu1 125 20 125 20 4 co
rlabel alu1 117 48 117 48 4 co
rlabel alu1 17 -24 17 -24 1 a2
rlabel alu1 25 -28 25 -28 1 a2
rlabel alu1 17 -36 17 -36 1 b2
rlabel alu1 9 -44 9 -44 1 b2
rlabel alu1 17 32 17 32 1 a2
rlabel alu1 25 36 25 36 1 a2
rlabel alu1 17 44 17 44 1 b3
rlabel alu1 9 52 9 52 1 b3
rlabel alu1 59 52 59 52 1 b3
rlabel alu1 67 44 67 44 1 b3
rlabel alu1 67 32 67 32 1 a3
rlabel alu1 75 36 75 36 1 a3
rlabel alu1 59 -44 59 -44 1 b2
rlabel alu1 67 -36 67 -36 1 b2
rlabel alu1 75 -28 75 -28 1 a3
rlabel alu1 41 40 41 40 1 z2
rlabel alu1 91 40 91 40 1 z1
rlabel alu1 91 -32 91 -32 1 z3
rlabel alu1 33 20 33 20 1 z2
rlabel alu1 83 20 83 20 1 z1
rlabel alu1 83 -12 83 -12 1 z3
rlabel alu1 197 36 197 36 1 p1
rlabel alu1 189 60 189 60 1 p1
rlabel alu1 33 -12 33 -12 1 p0
rlabel alu1 41 -32 41 -32 1 p0
rlabel alu1 197 -28 197 -28 1 p2
rlabel alu1 189 -52 189 -52 1 p2
rlabel polyct0 83 -28 83 -28 2 zn_uq0
rlabel alu0 67 -12 67 -12 2 zn_uq0
rlabel alu0 70 -48 70 -48 2 zn_uq0
rlabel alu0 70 56 70 56 4 zn_uq1
rlabel alu0 67 20 67 20 4 zn_uq1
rlabel polyct0 83 36 83 36 4 zn_uq1
rlabel alu0 20 56 20 56 4 zn_uq2
rlabel alu0 17 20 17 20 4 zn_uq2
rlabel polyct0 33 36 33 36 4 zn_uq2
rlabel alu0 167 -11 167 -11 2 n2_uq0
rlabel alu0 156 -15 156 -15 2 n2_uq0
rlabel alu0 171 -19 171 -19 2 son_uq0
rlabel alu0 183 -21 183 -21 2 son_uq0
rlabel alu0 173 -38 173 -38 2 son_uq0
rlabel alu0 183 -37 183 -37 2 con_uq0
rlabel alu0 144 -12 144 -12 2 con_uq0
rlabel alu0 125 -32 125 -32 2 con_uq0
rlabel alu0 143 -44 143 -44 2 con_uq0
rlabel alu0 138 -48 138 -48 2 con_uq0
rlabel nmos 66 -22 66 -22 1 a3_uq0
rlabel alu1 75 -28 75 -28 1 a2_uq0
rlabel alu1 117 -40 117 -40 1 p3
rlabel alu1 116 -29 116 -29 1 p3
<< end >>
